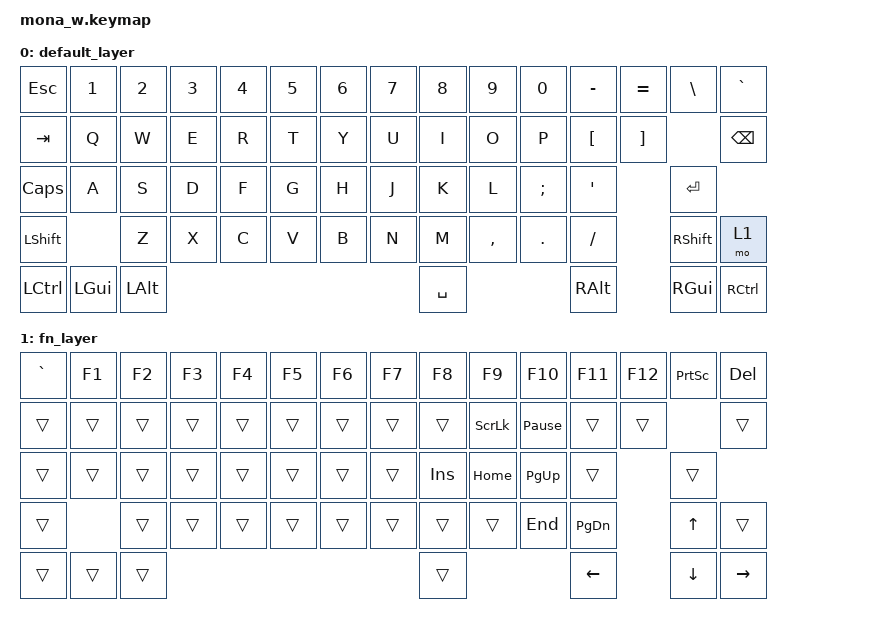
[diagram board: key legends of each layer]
/*
 * Copyright (c) 2023 Ramon Imbao
 *
 * SPDX-License-Identifier: MIT
 */

#include <behaviors.dtsi>
#include <dt-bindings/zmk/keys.h>

/ {
    keymap {
        compatible = "zmk,keymap";

        default_layer {
            bindings = <
&kp ESC    &kp N1    &kp N2    &kp N3  &kp N4  &kp N5  &kp N6  &kp N7  &kp N8     &kp N9     &kp N0    &kp MINUS  &kp EQUAL  &kp BACKSLASH  &kp GRAVE
&kp TAB    &kp Q     &kp W     &kp E   &kp R   &kp T   &kp Y   &kp U   &kp I      &kp O      &kp P     &kp LBKT   &kp RBKT                  &kp BACKSPACE
&kp CAPS   &kp A     &kp S     &kp D   &kp F   &kp G   &kp H   &kp J   &kp K      &kp L      &kp SEMI  &kp APOS              &kp ENTER
&kp LSHFT            &kp Z     &kp X   &kp C   &kp V   &kp B   &kp N   &kp M      &kp COMMA  &kp DOT   &kp SLASH             &kp RSHFT      &mo 1
&kp LCTRL  &kp LGUI  &kp LALT                                          &kp SPACE                       &kp RALT              &kp RGUI       &kp RCTRL
            >;
        };

        fn_layer {
            bindings = <
&kp GRAVE  &kp F1  &kp F2  &kp F3  &kp F4  &kp F5  &kp F6  &kp F7  &kp F8   &kp F9          &kp F10          &kp F11         &kp F12  &kp PRINTSCREEN  &kp DELETE
&trans     &trans  &trans  &trans  &trans  &trans  &trans  &trans  &trans   &kp SCROLLLOCK  &kp PAUSE_BREAK  &trans          &trans                    &trans
&trans     &trans  &trans  &trans  &trans  &trans  &trans  &trans  &kp INS  &kp HOME        &kp PAGE_UP      &trans                   &trans
&trans             &trans  &trans  &trans  &trans  &trans  &trans  &trans   &trans          &kp END          &kp PAGE_DOWN            &kp UP_ARROW     &trans
&trans     &trans  &trans                                          &trans                                    &kp LEFT_ARROW           &kp DOWN         &kp RIGHT
            >;
        };
    };
};
